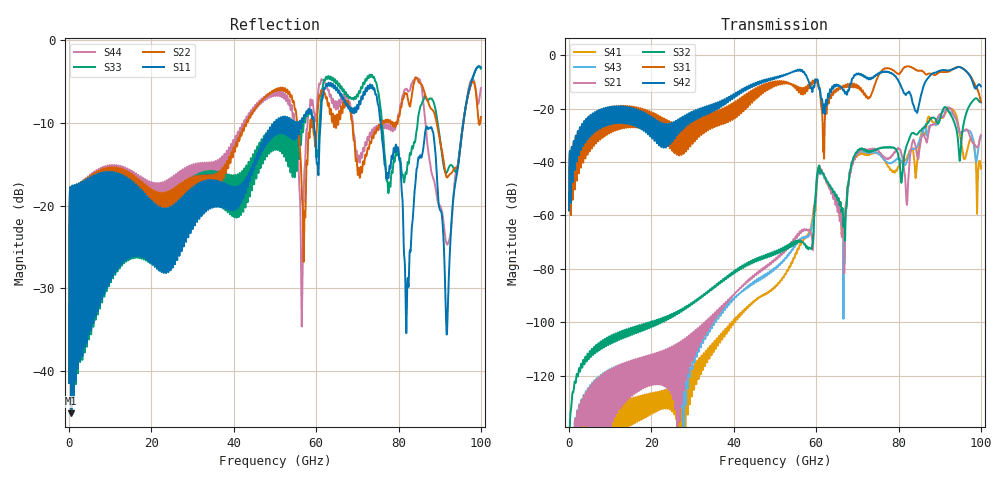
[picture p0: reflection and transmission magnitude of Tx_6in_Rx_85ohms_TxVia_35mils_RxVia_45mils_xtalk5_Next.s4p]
! Info: Touchstone file created by Circ.  Input file=Tx_6in_Rx_85ohms_TxVia_35mils_RxVia_45mils.circ
# Hz S RI R 50
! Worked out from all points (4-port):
!   10000 points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, 10 MHz to 100 GHz, reference 50 ohm
!   strongest paths, dB at 10 MHz, 25.01 GHz, 50.01 GHz, 75.01 GHz, 100 GHz:
!     S42: -58.1, -28.3, -8.2, -6.8, -11.7
!     S31: -58.1, -32.4, -9.8, -7.9, -17.3
!     S32: -162.1, -97.1, -74.2, -35.0, -17.7
!     S21: -175.4, -109.2, -76.9, -35.8, -29.9
!     S43: -175.3, -110.8, -79.9, -36.7, -30.4
!     S41: -180.5, -133.0, -87.0, -36.7, -42.5
!   lowest |S11| = -45.1 dB at 530 MHz (marker M1), VSWR 1.01, Z = 49.5 + j0.303 ohm
!   |S11| at or under -10 dB: start of sweep to 49.79 GHz; 59.43 GHz to 61.08 GHz (1.65 GHz wide, 2.74 % of centre); 75.69 GHz to 95.73 GHz (20.04 GHz wide, 23.4 % of centre)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
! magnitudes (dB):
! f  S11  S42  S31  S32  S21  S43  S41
! 10 MHz  -41.4  -58.1  -58.1  -162.1  -175.4  -175.3  -180.5
! 530 MHz  -45.1  -39.4  -39.5  -131.9  -145.9  -145.8  -151.9
! 58.48 GHz  -8.8  -11.2  -11.2  -72.3  -66.0  -66.6  -65.7
! 60.76 GHz  -12.9  -12.8  -11.9  -41.5  -41.2  -41.8  -41.7
! 66.56 GHz  -6.9  -13.2  -11.4  -61.4  -62.9  -71.5  -69.1
! 91.75 GHz  -35.5  -5.7  -6.3  -20.0  -19.8  -20.5  -20.6
! 100 GHz  -3.3  -11.7  -17.3  -17.7  -29.9  -30.4  -42.5
